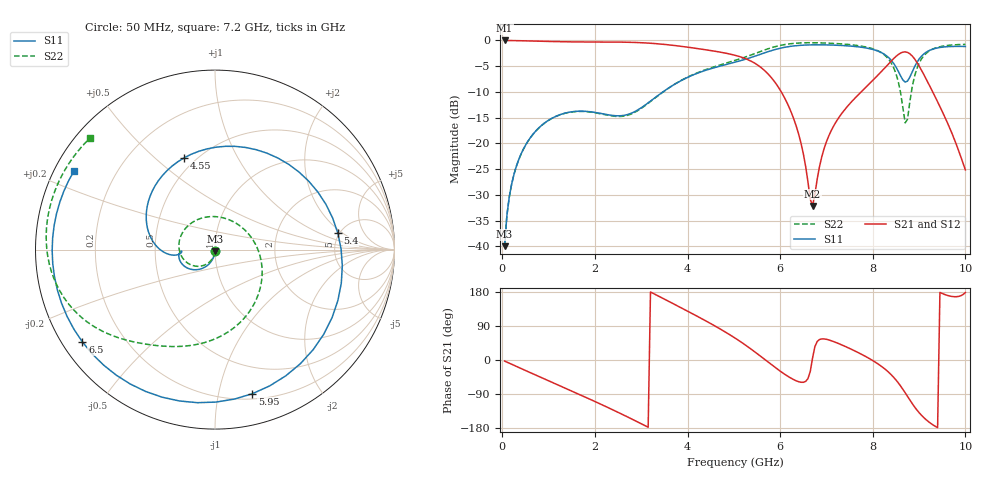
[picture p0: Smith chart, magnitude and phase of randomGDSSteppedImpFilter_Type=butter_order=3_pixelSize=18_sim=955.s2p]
! freq	dB(S11)	phase(S11)	dB(S12)	phase(S12)
!  dB(S21)	phase(S21)	dB(S22)	phase(S22)
!S-par simulation data
#  GHz  S  DB  R 50
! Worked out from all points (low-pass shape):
!   200 points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, 50 MHz to 10 GHz, reference 50 ohm
!   highest |S21| = 0.00 dB at 50 MHz (marker M1); lowest = -32.1 dB at 6.7 GHz (marker M2)
!   |S21| within 3 dB of the highest: start of sweep to 5.074 GHz; 8.515 GHz to 8.85 GHz (335.6 MHz wide, 3.87 % of centre)
!   lowest |S11| = -39.9 dB at 50 MHz (marker M3), VSWR 1.02, Z = 50 - j1.01 ohm
!   |S11| at or under -10 dB: start of sweep to 3.468 GHz
!   |S22| runs from -39.9 to -0.4 dB; largest |S21 - S12| = 0
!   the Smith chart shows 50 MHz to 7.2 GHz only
!   S11 on the Smith chart (normalised r, x): 50 MHz: 1.00, -0.02; 4.55 GHz: 0.43, +0.63; 5.4 GHz: 4.83, +1.71; 5.95 GHz: 0.25, -1.26; 6.5 GHz: 0.06, -0.31; 7.2 GHz: 0.06, +0.26
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0.05  -39.93 -92.2  -0.00 -2.8  -0.00 -2.8  -39.94 -92.8
0.2  -27.96 -100.1  -0.02 -11.1  -0.02 -11.1  -27.97 -102.4
0.5  -20.36 -115.1  -0.08 -27.7  -0.08 -27.7  -20.38 -121.2
1.75  -13.74 -167.7  -0.30 -95.7  -0.30 -95.7  -13.78 155.0
2.7  -14.40 -174.3  -0.35 -150.0  -0.35 -150.0  -14.54 52.7
3.4  -10.44 -179.2  -0.68 167.0  -0.68 167.0  -10.48 -28.7
4.55  -5.36 108.5  -2.03 92.7  -2.03 92.7  -5.19 -104.0
5.05  -4.17 55.4  -2.94 56.0  -2.94 56.0  -3.82 -124.7
5.4  -3.22 7.7  -4.15 26.2  -4.15 26.2  -2.73 -137.9
5.65  -2.45 -30.2  -5.73 3.0  -5.73 3.0  -1.89 -148.3
5.95  -1.62 -75.5  -8.92 -24.9  -8.92 -24.9  -1.07 -162.5
6.5  -0.91 -145.2  -21.97 -58.9  -21.97 -58.9  -0.46 170.3
6.7  -0.85 -165.6  -32.11 5.3  -32.11 5.3  -0.44 161.0
7.2  -0.92 150.9  -15.91 46.5  -15.91 46.5  -0.60 138.3
7.8  -1.38 105.6  -9.53 12.3  -9.53 12.3  -1.18 108.1
8.35  -3.39 64.1  -4.46 -33.1  -4.46 -33.1  -3.73 62.5
8.55  -5.97 54.1  -2.74 -60.2  -2.74 -60.2  -7.97 26.7
8.7  -8.09 65.1  -2.22 -86.5  -2.22 -86.5  -16.00 -51.8
8.85  -6.14 79.6  -3.00 -114.6  -3.00 -114.6  -9.10 -161.0
9.05  -3.07 69.6  -5.74 -145.7  -5.74 -145.7  -3.61 154.5
9.45  -1.36 38.0  -12.84 178.3  -12.84 178.3  -1.22 112.5
10  -1.18 2.4  -25.14 178.0  -25.14 178.0  -0.77 80.1
